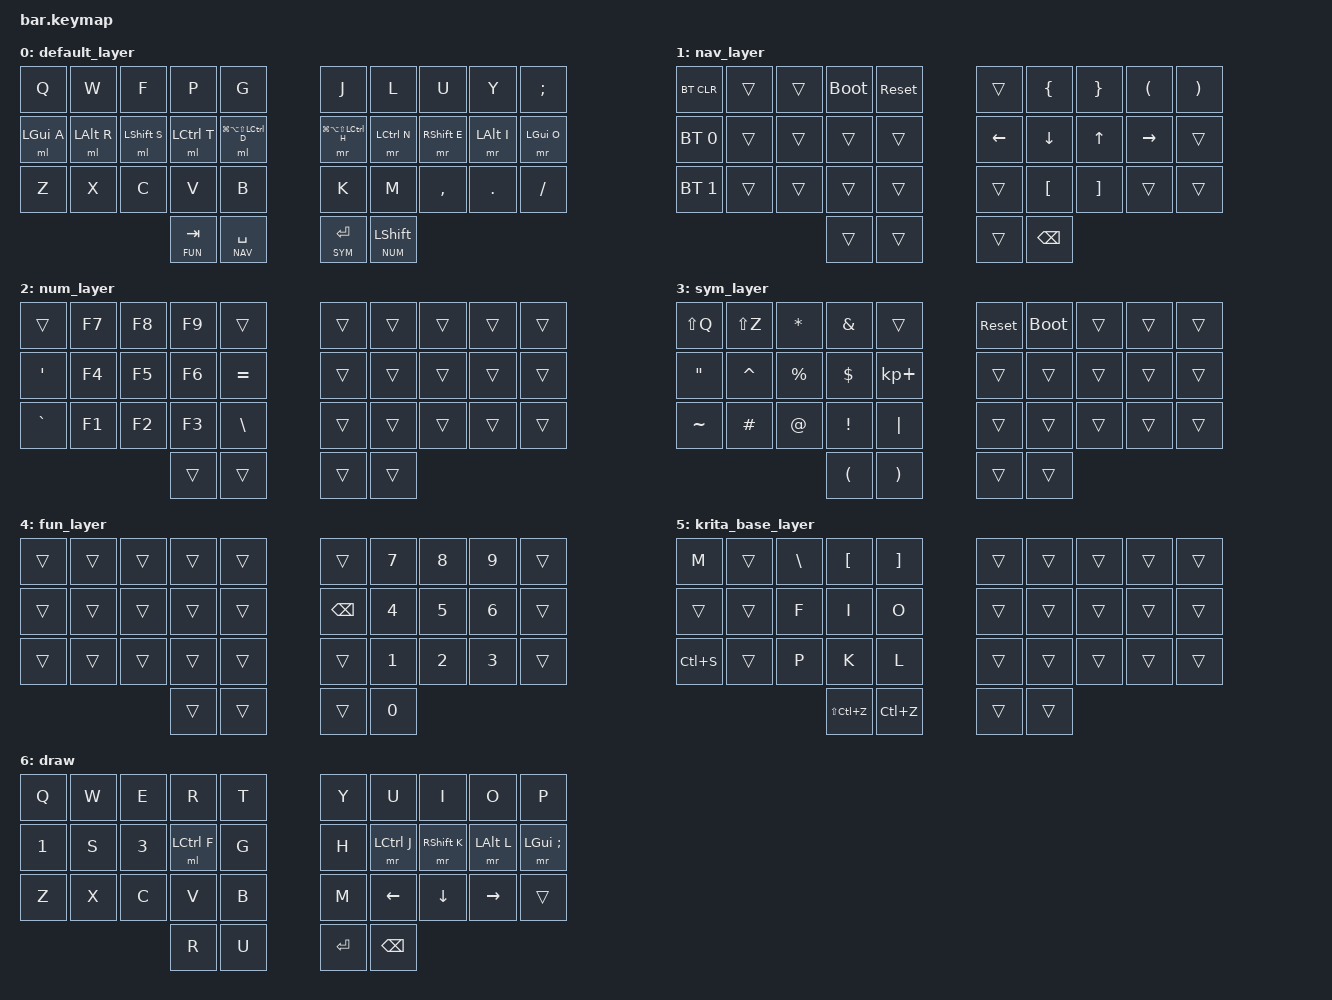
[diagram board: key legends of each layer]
/*
 * Copyright (c) 2020 The ZMK Contributors
 *
 * SPDX-License-Identifier: MIT
 */

#include <behaviors.dtsi>
#include <dt-bindings/zmk/keys.h>
#include <dt-bindings/zmk/bt.h>
#include <dt-bindings/zmk/keys.h>
#include <dt-bindings/zmk/outputs.h>
#include <behaviors.dtsi>

#define COLEMAK 0
#define NAV 1
#define NUM 2
#define SYM 3
#define FUN 4

/* krita base */
#define KRB 5

/* play */
#define PLAY 6


&mt {
  flavor = "tap-preferred";
  tapping_term_ms = <200>;
  quick_tap_ms = <75>;
};

#define ZMK_HELPER_STRINGIFY(x) #x

/* ZMK_BEHAVIOR */

#define ZMK_BEHAVIOR_CORE_caps_word       compatible = "zmk,behavior-caps-word";       #binding-cells = <0>
#define ZMK_BEHAVIOR_CORE_dynamic_macro   compatible = "zmk,behavior-dynamic-macro";   #binding-cells = <1>
#define ZMK_BEHAVIOR_CORE_hold_tap        compatible = "zmk,behavior-hold-tap";        #binding-cells = <2>
#define ZMK_BEHAVIOR_CORE_key_repeat      compatible = "zmk,behavior-key-repeat";      #binding-cells = <0>
#define ZMK_BEHAVIOR_CORE_macro           compatible = "zmk,behavior-macro";           #binding-cells = <0>
#define ZMK_BEHAVIOR_CORE_macro_one_param compatible = "zmk,behavior-macro-one-param"; #binding-cells = <1>
#define ZMK_BEHAVIOR_CORE_macro_two_param compatible = "zmk,behavior-macro-two-param"; #binding-cells = <2>
#define ZMK_BEHAVIOR_CORE_mod_morph       compatible = "zmk,behavior-mod-morph";       #binding-cells = <0>
#define ZMK_BEHAVIOR_CORE_sticky_key      compatible = "zmk,behavior-sticky-key";      #binding-cells = <1>
#define ZMK_BEHAVIOR_CORE_tap_dance       compatible = "zmk,behavior-tap-dance";       #binding-cells = <0>
#define ZMK_BEHAVIOR_CORE_tri_state       compatible = "zmk,behavior-tri-state";       #binding-cells = <0>

#define ZMK_BEHAVIOR(name, type, ...) \
    / { \
        behaviors { \
            name: name { \
                label = ZMK_HELPER_STRINGIFY(ZB_ ## name); \
                ZMK_BEHAVIOR_CORE_ ## type; \
                __VA_ARGS__ \
            }; \
        }; \
    };

#define KEYS_L 0 1 2 3 4 10 11 12 13 14 20 21 22 23 24
#define KEYS_R 5 6 7 8 9 15 16 17 18 19 25 26 27 28 29
#define THUMBS 30 31 32 33

/* left-hand HRMs */
ZMK_BEHAVIOR(ml, hold_tap,
        flavor = "hold-preferred";
        tapping-term-ms = <280>;
        quick-tap-ms = <175>;
        bindings = <&kp>, <&kp>;
        hold-trigger-key-positions = <KEYS_R THUMBS>;
        hold-trigger-on-release;             // delay positional check until key-release
        global-quick-tap;
        )

/* right-hand HRMs */
ZMK_BEHAVIOR(mr, hold_tap,
        flavor = "hold-preferred";
        tapping-term-ms = <280>;
        quick-tap-ms = <100>;
        bindings = <&kp>, <&kp>;
        hold-trigger-key-positions = <KEYS_L THUMBS>;
        hold-trigger-on-release;             // delay positional check until key-release
        global-quick-tap;
        )

/ { 

    combos {
        compatible = "zmk,combos";
        combo_caps_word {
            timeout-ms = <100>;
            key-positions = <20 29>;
            bindings = <&caps_word>;
        };
        combo_esc {
            timeout-ms = <150>;
            key-positions = <12 13 16 17>;
            bindings = <&kp ESC>;
        };

        // (
        combo_lpar {
            timeout-ms = <100>;
            key-positions = <14 24>;
            bindings = <&kp LPAR>;
        };

        // )
        combo_rpar {
            timeout-ms = <100>;
            key-positions = <15 25>;
            bindings = <&kp RPAR>;
        };

        // [
        combo_lbrac {
            timeout-ms = <100>;
            key-positions = <13 23>;
            bindings = <&kp LBRC>;
        };
        // ]
        combo_rbrac {
            timeout-ms = <100>;
            key-positions = <16 26>;
            bindings = <&kp RBRC>;
        };

        // <
        combo_less_than {
            timeout-ms = <100>;
            key-positions = <3 13>;
            bindings = <&kp LT>;
        };

        // >
        combo_greater_than {
            timeout-ms = <100>;
            key-positions = <6 16>;
            bindings = <&kp GT>;
        };

        combo_minus {
            timeout-ms = <100>;
            key-positions = <2 3 6 7>;
            bindings = <&kp MINUS>;
        };
        combo_under {
            timeout-ms = <100>;
            key-positions = <22 23 26 27>;
            bindings = <&kp UNDER>;
        };
        combo_ble {
            timeout-ms = <20>;
            key-positions = <0 1>;
            bindings = <&out OUT_BLE>;
        };
        combo_krita {
            timeout-ms = <100>;
            key-positions = <0 10 20>;
            bindings = <&tog KRB>;
        };
        combo_draw {
            timeout-ms = <100>;
            key-positions = <9 19 29>;
            bindings = <&tog PLAY>;
        };
    };

    keymap {
        compatible = "zmk,keymap";
        default_layer {
            bindings = <
                  &kp Q      &kp W       &kp F        &kp P        &kp G                          &kp J                     &kp L       &kp U           &kp Y        &kp SCLN
                  &ml LGUI A &ml LALT R  &ml LSHIFT S &ml LCTRL T  &ml LG(LA(LS(LCTRL))) D        &mr LG(LA(LS(LCTRL))) H   &mr LCTRL N &mr RSHIFT E    &mr LALT I   &mr LGUI O
                  &kp Z      &kp X       &kp C        &kp V        &kp B                          &kp K                     &kp M       &kp CMMA        &kp DOT      &kp FSLH
                                                      &lt FUN TAB  &lt NAV SPC                    &lt SYM RET               &lt NUM LSHIFT
                >;
        };

        nav_layer {
            bindings = <
                &bt BT_CLR   &trans &trans &bootloader &sys_reset           &trans      &kp LBRC   &kp RBRC &kp LPAR    &kp RPAR
                &bt BT_SEL 0 &trans &trans &trans      &trans               &kp LEFT    &kp DOWN   &kp UP   &kp RIGHT   &trans
                &bt BT_SEL 1 &trans &trans &trans      &trans               &trans      &kp LBKT   &kp RBKT &trans      &trans
                                           &trans      &trans               &trans      &kp BSPC
                >;
        };

        num_layer {
            bindings = <
                &trans     &kp F7 &kp F8 &kp F9 &trans                &trans    &trans   &trans &trans    &trans
                &kp SQT    &kp F4 &kp F5 &kp F6 &kp EQUAL             &trans    &trans   &trans &trans    &trans
                &kp GRAVE  &kp F1 &kp F2 &kp F3 &kp BSLH              &trans    &trans   &trans &trans    &trans
                                         &trans &trans                &trans    &trans
                >;
       };

       sym_layer {
            bindings = <
                &kp LS(Q) &kp LS(Z) &kp STAR  &kp AMPS  &trans                &sys_reset &bootloader   &trans &trans    &trans
                &kp DQT   &kp CARET &kp PRCNT &kp DLLR  &kp KP_PLUS           &trans     &trans        &trans &trans    &trans
                &kp TILDE &kp HASH  &kp AT    &kp EXCL  &kp PIPE              &trans     &trans        &trans &trans    &trans
                                              &kp LPAR  &kp RPAR              &trans     &trans
                >;
        };

       fun_layer {
            bindings = <
                &trans &trans &trans &trans &trans        &trans   &kp N7    &kp N8    &kp N9    &trans
                &trans &trans &trans &trans &trans        &kp BSPC &kp N4    &kp N5    &kp N6    &trans
                &trans &trans &trans &trans &trans        &trans   &kp N1    &kp N2    &kp N3    &trans
                                     &trans &trans        &trans   &kp N0
                >;
        };

        krita_base_layer {
            bindings = <
                &kp M      &trans &kp BSLH  &kp LBKT      &kp RBKT       &trans    &trans   &trans &trans    &trans
                &trans     &trans &kp F     &kp I         &kp O          &trans    &trans   &trans &trans    &trans
                &kp LC(S)  &trans &kp P     &kp K         &kp L          &trans    &trans   &trans &trans    &trans
                                            &kp LS(LC(Z)) &kp LC(Z)      &trans    &trans
                >;
       };

        draw {
            bindings = <
                &kp Q   &kp W  &kp E     &kp R         &kp T          &kp Y     &kp U         &kp I          &kp O      &kp P
                &kp N1  &kp S  &kp N3    &ml LCTRL F   &kp G          &kp H     &mr LCTRL J   &mr RSHIFT K   &mr LALT L &mr LGUI SCLN
                &kp Z   &kp X  &kp C     &kp V         &kp B          &kp M     &kp LEFT      &kp DOWN       &kp RIGHT  &trans
                                         &kp R         &kp U          &kp RET   &kp BSPC
                >;
       };
    };
};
